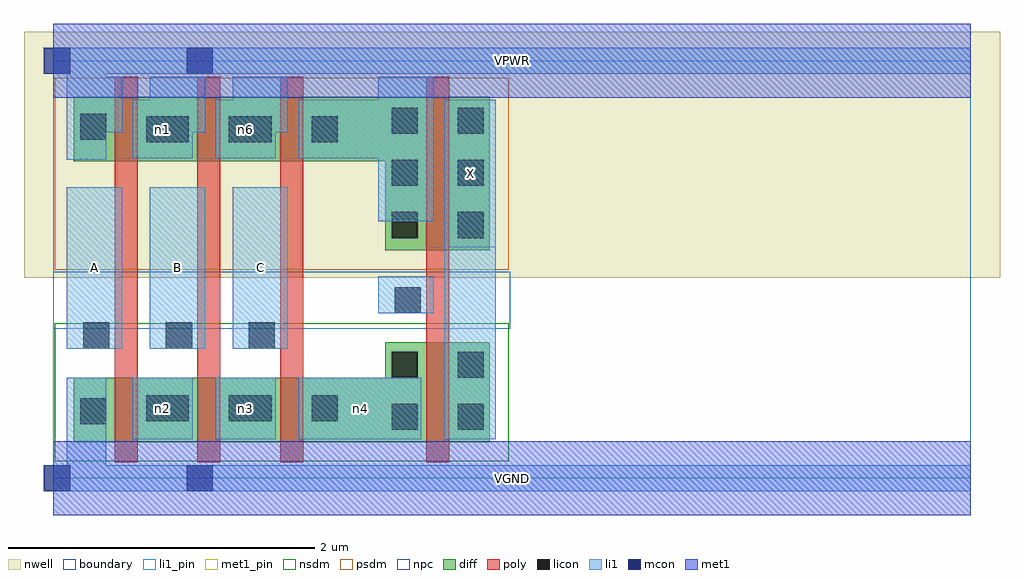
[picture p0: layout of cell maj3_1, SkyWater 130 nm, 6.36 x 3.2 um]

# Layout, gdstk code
import gdstk
lib = gdstk.Library(unit=1e-6, precision=1e-09)
def R(c, l, rs):  # rectangles x0, y0, x1, y1
    for r in rs: c.add(gdstk.rectangle(r[:2], r[2:], *l))
def A(c, l, x, y, w, h, nx, ny, dx, dy):  # array of equal rectangles
    R(c, l, [(x+i*dx, y+j*dy, x+i*dx+w, y+j*dy+h) for i in range(nx) for j in range(ny)])
nwell = (64, 20)
diff = (65, 20)
poly = (66, 20)
licon = (66, 44)
li1_pin = (67, 16)
li1 = (67, 20)
mcon = (67, 44)
met1_pin = (68, 16)
met1 = (68, 20)
nsdm = (93, 44)
psdm = (94, 20)
npc = (95, 20)
boundary = (235, 4)

maj3_1 = lib.new_cell('maj3_1')
R(maj3_1, nwell, [(-0.19,1.305,6.17,2.91), (0,1.305,5.98,2.91)])
R(maj3_1, diff, [(0.135,0.235,1.355,0.655), (0.675,0.235,1.895,0.655), (1.215,0.235,2.845,0.655), (2.165,0.235,2.845,0.885), (2.165,1.485,2.845,2.485), (0.135,2.065,1.355,2.485), (0.675,2.065,1.895,2.485), (1.215,2.065,2.845,2.485)])
A(maj3_1, poly, 0.4, 0.105, 0.15, 2.51, 3, 1, 0.54, 0)
R(maj3_1, poly, [(2.43,0.105,2.58,2.615)])
A(maj3_1, licon, 0.195, 0.845, 0.17, 0.17, 3, 1, 0.54, 0)
A(maj3_1, licon, 2.205, 1.565, 0.17, 0.17, 1, 3, 0, 0.34)
R(maj3_1, licon, [(2.205,0.315,2.375,0.485), (2.635,0.315,2.805,0.485), (0.175,0.35,0.345,0.52), (0.605,0.37,0.775,0.54), (0.715,0.37,0.885,0.54), (1.145,0.37,1.315,0.54), (1.255,0.37,1.425,0.54), (1.685,0.37,1.855,0.54), (2.205,0.655,2.375,0.825), (2.635,0.655,2.805,0.825), (2.225,1.075,2.395,1.245), (2.635,1.565,2.805,1.735), (2.635,1.565,2.805,1.735), (2.635,1.905,2.805,2.075), (2.635,1.905,2.805,2.075), (0.605,2.19,0.775,2.36), (0.715,2.19,0.885,2.36), (1.145,2.19,1.315,2.36), (1.255,2.19,1.425,2.36), (1.685,2.19,1.855,2.36), (0.175,2.205,0.345,2.375), (2.635,2.245,2.805,2.415), (2.635,2.245,2.805,2.415)])
A(maj3_1, li1_pin, 0.09, 0.845, 0.36, 1.05, 3, 1, 0.54, 0)
R(maj3_1, li1_pin, [(2.55,1.505,2.885,2.465)])
A(maj3_1, li1, 0.09, 0.845, 0.36, 1.05, 3, 1, 0.54, 0)
A(maj3_1, li1, 0.09, 2.255, 0.36, 0.36, 3, 1, 0.54, 0)
R(maj3_1, li1, [(0,-0.085,5.98,0.085), (0.09,-0.085,0.345,0.655), (0.52,0.255,0.91,0.655), (1.06,0.255,1.45,0.655), (1.6,0.255,2.4,0.655), (2.55,0.255,2.885,0.885), (2.55,0.255,2.885,2.465), (2.12,1.075,2.48,1.315), (2.55,1.505,2.885,2.465), (2.12,1.675,2.48,2.615), (0.09,2.075,0.345,2.805), (0.52,2.085,0.91,2.465), (1.06,2.085,1.45,2.465), (1.6,2.085,2.4,2.465), (0,2.635,5.98,2.805)])
R(maj3_1, mcon, [(-0.06,-0.085,0.11,0.085), (0.87,-0.085,1.04,0.085), (-0.06,2.635,0.11,2.805), (0.87,2.635,1.04,2.805)])
R(maj3_1, met1_pin, [(0,-0.24,5.98,0.24), (0,2.48,5.98,2.96)])
R(maj3_1, met1, [(0,-0.24,5.98,0.24), (0,2.48,5.98,2.96)])
R(maj3_1, nsdm, [(0.01,0.11,2.97,1.01)])
R(maj3_1, psdm, [(0.01,1.36,2.97,2.61)])
R(maj3_1, npc, [(0,0.975,2.98,1.345)])
R(maj3_1, boundary, [(0,0,5.98,2.72)])
maj3_1.add(gdstk.Label('A', (0.27,1.37), layer=67, texttype=5))
maj3_1.add(gdstk.Label('B', (0.81,1.37), layer=67, texttype=5))
maj3_1.add(gdstk.Label('C', (1.35,1.37), layer=67, texttype=5))
maj3_1.add(gdstk.Label('X', (2.717,1.985), layer=67, texttype=5))
maj3_1.add(gdstk.Label('n2', (0.715,0.455), layer=67, texttype=5))
maj3_1.add(gdstk.Label('n3', (1.255,0.455), layer=67, texttype=5))
maj3_1.add(gdstk.Label('n4', (2,0.455), layer=67, texttype=5))
maj3_1.add(gdstk.Label('n1', (0.715,2.275), layer=67, texttype=5))
maj3_1.add(gdstk.Label('n6', (1.255,2.275), layer=67, texttype=5))
maj3_1.add(gdstk.Label('VPWR', (2.99,2.72), layer=68, texttype=5))
maj3_1.add(gdstk.Label('VGND', (2.99,0), layer=68, texttype=5))
maj3_1.add(gdstk.Label('A', (0.27,1.37), layer=67, texttype=16))
maj3_1.add(gdstk.Label('B', (0.81,1.37), layer=67, texttype=16))
maj3_1.add(gdstk.Label('C', (1.35,1.37), layer=67, texttype=16))
maj3_1.add(gdstk.Label('X', (2.717,1.985), layer=67, texttype=16))
maj3_1.add(gdstk.Label('VPWR', (2.99,2.72), layer=68, texttype=16))
maj3_1.add(gdstk.Label('VGND', (2.99,0), layer=68, texttype=16))

lib.write_gds('maj3_1.gds')
